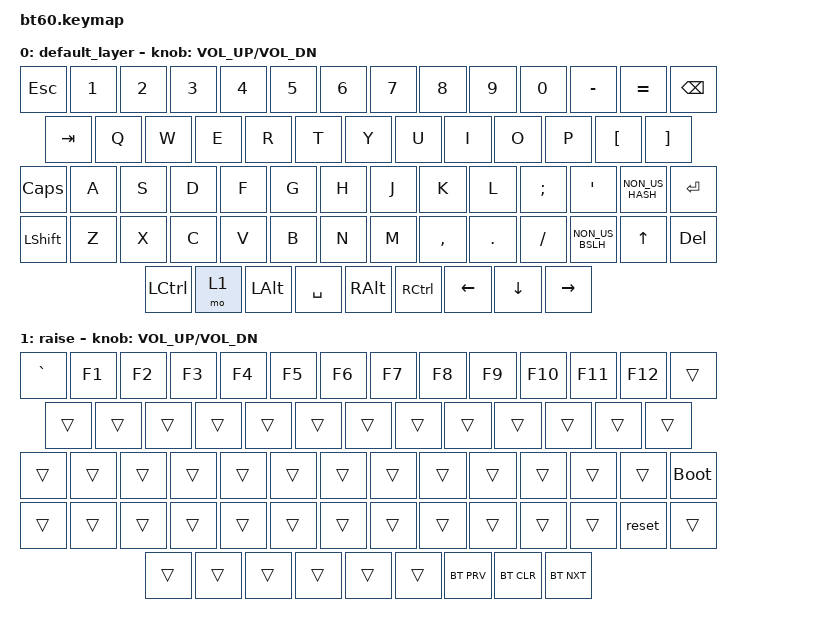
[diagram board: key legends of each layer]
#include <behaviors.dtsi>
#include <dt-bindings/zmk/keys.h>
#include <dt-bindings/zmk/bt.h>

/ {
	keymap {
		compatible = "zmk,keymap";

		default_layer {
				// ------------------------------------------------------------------------------------------
				// | ESC |  1  |  2  |  3  |  4  |  5  |  6  |  7  |  8  |  9  |  0  |  -  |  =  |   BKSP   |
				// | TAB  |  Q  |  W  |  E  |  R  |  T  |  Y  |  U  |  I  |  O  |  P  |  [  |  ]  |         |
				// | CAPS  |  A  |  S  |  D  |  F  |  G  |  H  |  J  |  K  |  L  |  ;  |  '  |  #   | ENTER |
				// |  SHIFT |  Z  |  X  |  C  |  V  |  B  |  N  |  M  |  ,  |  .  | /   | EU  |  UP  |  DEL |
				// |  CTL  |  1   |  ALT  |                     SPACE       |  ALT |    |LEFT | DOWN | RIGHT|
				// ------------------------------------------------------------------------------------------
			bindings = <
				&kp ESC &kp N1 &kp N2 &kp N3 &kp N4 &kp N5 &kp N6 &kp N7 &kp  N8   &kp  N9 &kp  N0  &kp MINUS &kp EQUAL &kp BSPC
				&kp TAB  &kp Q  &kp W  &kp E  &kp R  &kp T  &kp Y  &kp U  &kp  I    &kp  O  &kp  P   &kp LBKT &kp RBKT
				&kp CLCK  &kp A  &kp S  &kp D  &kp F  &kp G  &kp H  &kp J  &kp  K    &kp  L  &kp SEMI &kp SQT  &kp NON_US_HASH  &kp RET
				&kp LSHFT  &kp Z  &kp X  &kp C  &kp V  &kp B  &kp N  &kp M  &kp COMMA &kp DOT &kp FSLH &kp NON_US_BSLH &kp UP &kp DEL
				&kp LCTRL &mo 1 &kp LALT            &kp SPACE                          &kp RALT  &kp RCTRL &kp LEFT &kp DOWN &kp RIGHT
			>;
			sensor-bindings = <&inc_dec_kp C_VOL_UP C_VOL_DN>;
		};
		raise {
			bindings = <
				&kp GRAVE &kp F1 &kp F2 &kp F3 &kp F4 &kp F5 &kp F6 &kp F7 &kp  F8   &kp  F9 &kp  F10  &kp F11 &kp F12   &trans
				&trans &trans &trans &trans &trans &trans &trans &trans &trans &trans &trans &trans &trans
				&trans    &trans &trans &trans &trans &trans &trans &trans &trans &trans &trans  &trans  &trans &bootloader
				&trans &trans &trans &trans &trans &trans &trans &trans &trans &trans &trans &trans &reset  &trans
				&trans &trans &trans              &trans                   &trans &trans &bt BT_PRV &bt BT_CLR &bt BT_NXT
			>;
			sensor-bindings = <&inc_dec_kp C_VOL_UP C_VOL_DN>;
		};
	};
};
